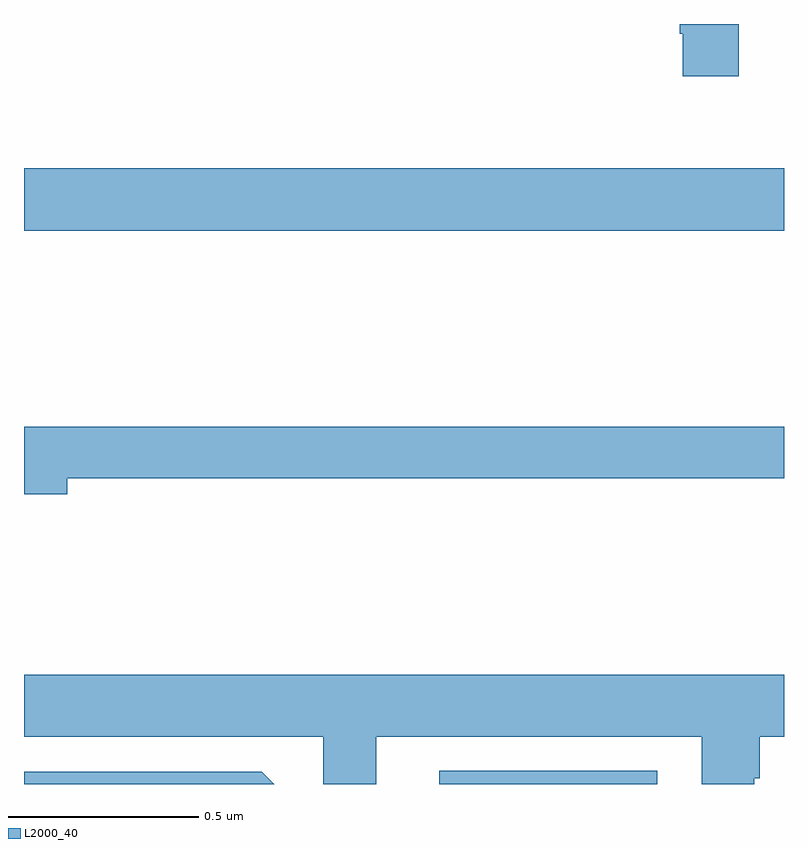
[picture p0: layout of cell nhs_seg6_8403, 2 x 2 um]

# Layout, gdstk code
import gdstk
lib = gdstk.Library(unit=1e-6, precision=1e-09)
def R(c, l, rs):  # rectangles x0, y0, x1, y1
    for r in rs: c.add(gdstk.rectangle(r[:2], r[2:], *l))
def P(c, l, *ps):  # polygons
    for p in ps: c.add(gdstk.Polygon(p, *l))
L2000_40 = (2000, 40)

nhs_seg6_8403 = lib.new_cell('nhs_seg6_8403')
R(nhs_seg6_8403, L2000_40, [(221.093,992.5,221.667,992.535), (220,993.956,222,994.12)])
P(nhs_seg6_8403, L2000_40, [(221.881,994.5),(221.725,994.5),(221.725,994.474),(221.733,994.474),(221.733,994.362),(221.881,994.362)],
  [(220.114,993.304),(222,993.304),(222,993.44),(220,993.44),(220,993.262),(220.114,993.262)],
  [(220.927,992.624),(221.783,992.624),(221.783,992.5),(221.922,992.5),(221.922,992.515),(221.936,992.515),(221.936,992.624),(222,992.624),(222,992.788),(220,992.788),(220,992.624),(220.788,992.624),(220.788,992.5),(220.927,992.5)],
  [(220.626,992.532),(220,992.532),(220,992.5),(220.658,992.5)])

lib.write_gds('nhs_seg6_8403.gds')
